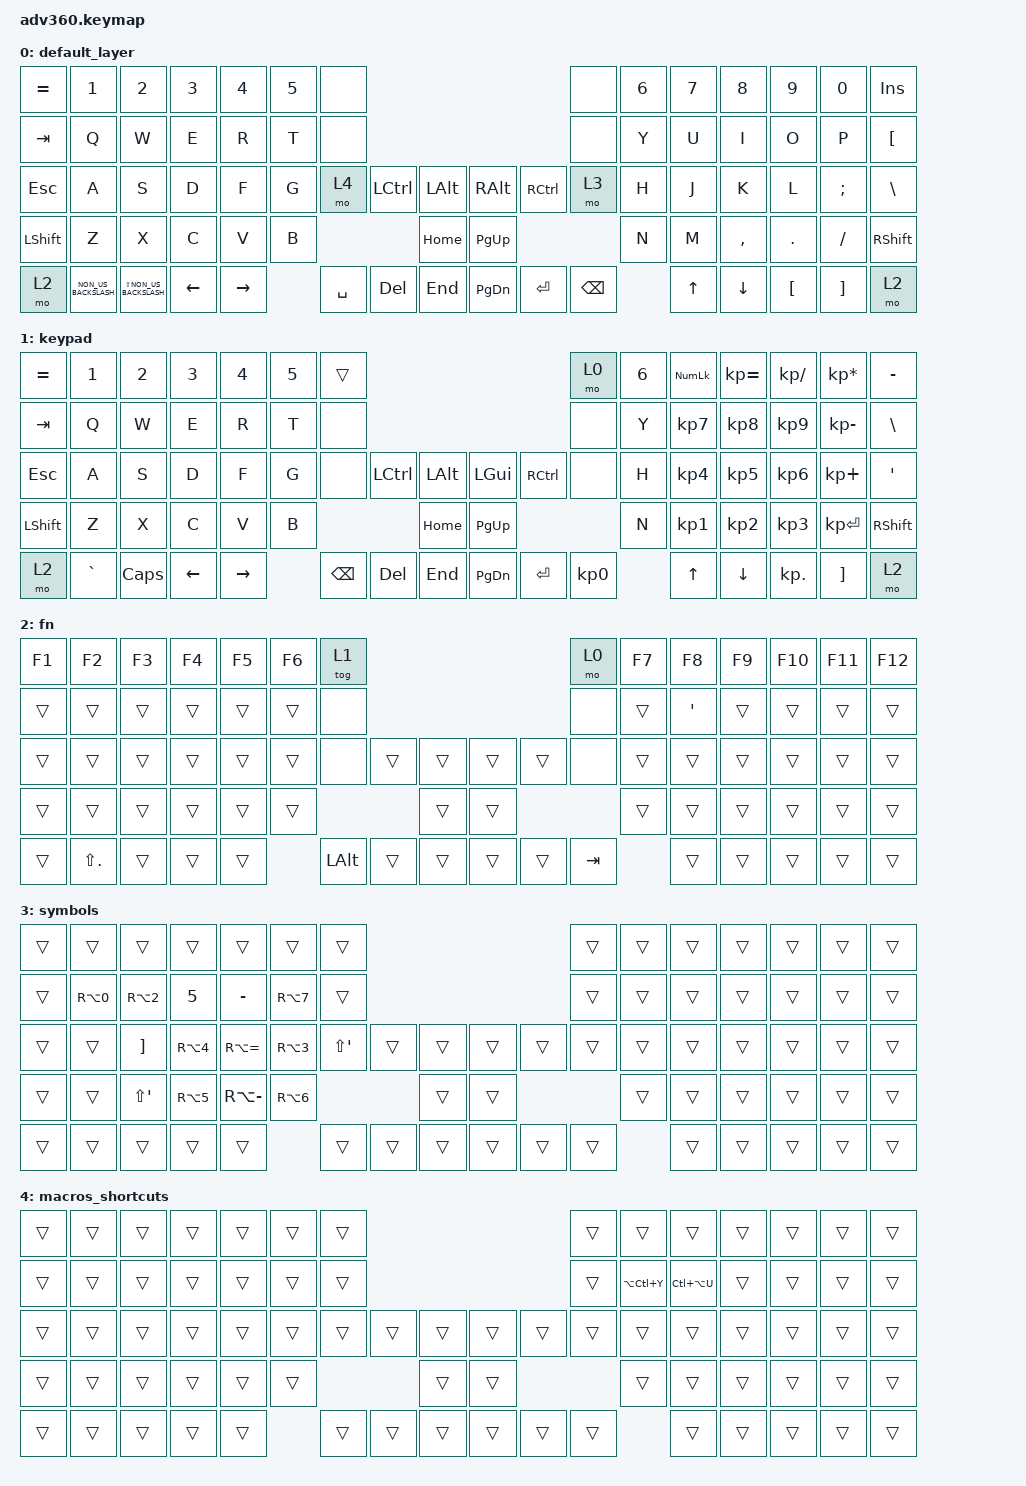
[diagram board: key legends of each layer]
#include <behaviors.dtsi>
#include <dt-bindings/zmk/keys.h>

/ {
    behaviors {
        #include "macros.dtsi"
      #include "version.dtsi"
      #ifndef VERSION_MACRO

        macro_ver: macro_ver {
            compatible = "zmk,behavior-macro";
            label = "macro_version";
            #binding-cells = <0>;
            bindings = <&kp RET>;
        };

        #endif

        hm: homerow_mods {
            compatible = "zmk,behavior-hold-tap";
            label = "HOMEROW_MODS";
            #binding-cells = <2>;
            tapping-term-ms = <200>;
            quick_tap_ms = <175>;
            flavor = "tap-preferred";
            bindings = <&kp>, <&kp>;
        };
    };

    macros {
    };

    combos {
        compatible = "zmk,combos";

        Symbol_Layer {
            bindings = <&mo 3>;
            key-positions = <69 41>;
            layers = <0>;
        };
    };

    keymap {
        compatible = "zmk,keymap";

        default_layer {
            bindings = <
&kp EQUAL  &kp N1                &kp N2                    &kp N3    &kp N4     &kp N5  &none                                                         &none          &kp N6  &kp N7  &kp N8     &kp N9    &kp N0    &kp INSERT
&kp TAB    &kp Q                 &kp W                     &kp E     &kp R      &kp T   &none                                                         &none          &kp Y   &kp U   &kp I      &kp O     &kp P     &kp LEFT_BRACKET
&kp ESC    &kp A                 &kp S                     &kp D     &kp F      &kp G   &mo 4      &kp LCTRL  &kp LALT      &kp RIGHT_ALT  &kp RCTRL  &mo 3          &kp H   &kp J   &kp K      &kp L     &kp SEMI  &kp BSLH
&kp LSHFT  &kp Z                 &kp X                     &kp C     &kp V      &kp B                         &kp HOME      &kp PG_UP                                &kp N   &kp M   &kp COMMA  &kp DOT   &kp FSLH  &kp RSHFT
&mo 2      &kp NON_US_BACKSLASH  &kp LS(NON_US_BACKSLASH)  &kp LEFT  &kp RIGHT          &kp SPACE  &kp DEL    &kp END       &kp PG_DN      &kp ENTER  &kp BACKSPACE          &kp UP  &kp DOWN   &kp LBKT  &kp RBKT  &mo 2
            >;
        };

        keypad {
            bindings = <
&kp EQUAL  &kp N1     &kp N2    &kp N3    &kp N4     &kp N5  &trans                                                   &mo 0      &kp N6  &kp KP_NUM  &kp KP_EQUAL  &kp KP_DIVIDE  &kp KP_MULTIPLY  &kp MINUS
&kp TAB    &kp Q      &kp W     &kp E     &kp R      &kp T   &none                                                    &none      &kp Y   &kp KP_N7   &kp KP_N8     &kp KP_N9      &kp KP_MINUS     &kp BSLH
&kp ESC    &kp A      &kp S     &kp D     &kp F      &kp G   &none     &kp LCTRL  &kp LALT      &kp LGUI   &kp RCTRL  &none      &kp H   &kp KP_N4   &kp KP_N5     &kp KP_N6      &kp KP_PLUS      &kp SQT
&kp LSHFT  &kp Z      &kp X     &kp C     &kp V      &kp B                        &kp HOME      &kp PG_UP                        &kp N   &kp KP_N1   &kp KP_N2     &kp KP_N3      &kp KP_ENTER     &kp RSHFT
&mo 2      &kp GRAVE  &kp CAPS  &kp LEFT  &kp RIGHT          &kp BSPC  &kp DEL    &kp END       &kp PG_DN  &kp ENTER  &kp KP_N0          &kp UP      &kp DOWN      &kp KP_DOT     &kp RBKT         &mo 2
            >;
        };

        fn {
            bindings = <
&kp F1  &kp F2       &kp F3  &kp F4  &kp F5  &kp F6  &tog 1                                            &mo 0    &kp F7  &kp F8   &kp F9  &kp F10  &kp F11  &kp F12
&trans  &trans       &trans  &trans  &trans  &trans  &none                                             &none    &trans  &kp SQT  &trans  &trans   &trans   &trans
&trans  &trans       &trans  &trans  &trans  &trans  &none         &trans  &trans      &trans  &trans  &none    &trans  &trans   &trans  &trans   &trans   &trans
&trans  &trans       &trans  &trans  &trans  &trans                        &trans      &trans                   &trans  &trans   &trans  &trans   &trans   &trans
&trans  &kp LS(DOT)  &trans  &trans  &trans          &kp LEFT_ALT  &trans  &trans      &trans  &trans  &kp TAB          &trans   &trans  &trans   &trans   &trans
            >;
        };

        symbols {
            bindings = <
&trans  &trans      &trans       &trans            &trans         &trans      &trans                                           &trans  &trans  &trans  &trans  &trans  &trans  &trans
&trans  &kp RA(N0)  &kp RA(N2)   &kp N5            &kp MINUS      &kp RA(N7)  &trans                                           &trans  &trans  &trans  &trans  &trans  &trans  &trans
&trans  &trans      &kp RBKT     &kp RA(NUMBER_4)  &kp RA(EQUAL)  &kp RA(N3)  &kp LS(SQT)  &trans  &trans      &trans  &trans  &trans  &trans  &trans  &trans  &trans  &trans  &trans
&trans  &trans      &kp LS(SQT)  &kp RA(N5)        &kp RA(MINUS)  &kp RA(N6)                       &trans      &trans                  &trans  &trans  &trans  &trans  &trans  &trans
&trans  &trans      &trans       &trans            &trans                     &trans       &trans  &trans      &trans  &trans  &trans          &trans  &trans  &trans  &trans  &trans
            >;
        };

        macros_shortcuts {
            bindings = <
&trans  &trans  &trans  &trans  &trans  &trans  &trans                                      &trans  &trans         &trans         &trans  &trans  &trans  &trans
&trans  &trans  &trans  &trans  &trans  &trans  &trans                                      &trans  &kp LA(LC(Y))  &kp LC(LA(U))  &trans  &trans  &trans  &trans
&trans  &trans  &trans  &trans  &trans  &trans  &trans  &trans  &trans      &trans  &trans  &trans  &trans         &trans         &trans  &trans  &trans  &trans
&trans  &trans  &trans  &trans  &trans  &trans                  &trans      &trans                  &trans         &trans         &trans  &trans  &trans  &trans
&trans  &trans  &trans  &trans  &trans          &trans  &trans  &trans      &trans  &trans  &trans                 &trans         &trans  &trans  &trans  &trans
            >;
        };
    };
};
